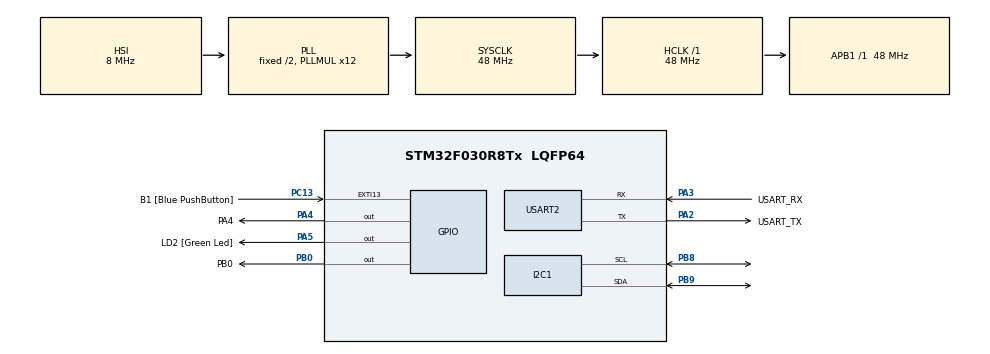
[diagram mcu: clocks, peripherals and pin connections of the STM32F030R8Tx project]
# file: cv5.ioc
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Dma.Request0=USART2_RX
Dma.USART2_RX.0.Direction=DMA_PERIPH_TO_MEMORY
Dma.USART2_RX.0.Instance=DMA1_Channel5
Dma.USART2_RX.0.MemDataAlignment=DMA_MDATAALIGN_BYTE
Dma.USART2_RX.0.MemInc=DMA_MINC_ENABLE
Dma.USART2_RX.0.Mode=DMA_CIRCULAR
Dma.USART2_RX.0.PeriphDataAlignment=DMA_PDATAALIGN_BYTE
Dma.USART2_RX.0.PeriphInc=DMA_PINC_DISABLE
Dma.USART2_RX.0.Priority=DMA_PRIORITY_LOW
Mcu.Family=STM32F0
Mcu.Name=STM32F030R8Tx
Mcu.Package=LQFP64
NVIC.DMA1_Channel4_5_IRQn=true\:0\:0\:false\:false\:true\:false\:true
PA13.GPIO_Label=TMS
PA13.Mode=Serial_Wire
PA13.Signal=SYS_SWDIO
PA14.GPIO_Label=TCK
PA14.Mode=Serial_Wire
PA14.Signal=SYS_SWCLK
PA2.GPIO_Label=USART_TX
PA2.GPIO_Mode=GPIO_MODE_AF_PP
PA2.GPIO_PuPd=GPIO_NOPULL
PA2.GPIO_Speed=GPIO_SPEED_FREQ_LOW
PA2.Mode=Asynchronous
PA2.Signal=USART2_TX
PA3.GPIO_Label=USART_RX
PA3.GPIO_Mode=GPIO_MODE_AF_PP
PA3.GPIO_PuPd=GPIO_NOPULL
PA3.GPIO_Speed=GPIO_SPEED_FREQ_LOW
PA3.Mode=Asynchronous
PA3.Signal=USART2_RX
PA4.GPIO_Label=PA4
PA4.Signal=GPIO_Output
PA5.GPIO_Label=LD2 [Green Led]
PA5.GPIO_Mode=GPIO_MODE_OUTPUT_PP
PA5.GPIO_PuPd=GPIO_NOPULL
PA5.GPIO_Speed=GPIO_SPEED_FREQ_LOW
PA5.Signal=GPIO_Output
PB0.GPIO_Label=PB0
PB0.Signal=GPIO_Output
PB8.Mode=I2C
PB8.Signal=I2C1_SCL
PB9.Mode=I2C
PB9.Signal=I2C1_SDA
PC13.GPIO_Label=B1 [Blue PushButton]
PC13.GPIO_ModeDefaultEXTI=GPIO_MODE_IT_FALLING
PC13.Signal=GPXTI13
PC14-OSC32_IN.Mode=LSE-External-Oscillator
PC14-OSC32_IN.Signal=RCC_OSC32_IN
PC15-OSC32_OUT.Mode=LSE-External-Oscillator
PC15-OSC32_OUT.Signal=RCC_OSC32_OUT
PF0-OSC_IN.Mode=HSE-External-Clock-Source
PF0-OSC_IN.Signal=RCC_OSC_IN
PF1-OSC_OUT.Signal=RCC_OSC_OUT
ProjectManager.HeapSize=0x200
ProjectManager.StackSize=0x400
ProjectManager.TargetToolchain=STM32CubeIDE
RCC.AHBFreq_Value=48000000
RCC.APB1Freq_Value=48000000
RCC.APB1TimFreq_Value=48000000
RCC.HCLKFreq_Value=48000000
RCC.PLLMUL=RCC_PLL_MUL12
RCC.SYSCLKFreq_VALUE=48000000
RCC.SYSCLKSource=RCC_SYSCLKSOURCE_PLLCLK
USART2.VirtualMode-Asynchronous=VM_ASYNC
board=NUCLEO-F030R8

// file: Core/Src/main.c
/* USER CODE BEGIN Header */
/**
  ******************************************************************************
  * @file           : main.c
  * @brief          : Main program body
  ******************************************************************************
  * @attention
  *
  * <h2><center>&copy; Copyright (c) 2021 STMicroelectronics.
  * All rights reserved.</center></h2>
  *
  * This software component is licensed by ST under BSD 3-Clause license,
  * the "License"; You may not use this file except in compliance with the
  * License. You may obtain a copy of the License at:
  *                        opensource.org/licenses/BSD-3-Clause
  *
  ******************************************************************************
  */
/* USER CODE END Header */
#include "main.h"

/* USER CODE BEGIN Includes */
#include "stdio.h"
#include "string.h"
#include "stdlib.h"

/* USER CODE END Includes */

/* USER CODE BEGIN PTD */

#define RX_BUFFER_LEN 64
#define EEPROM_ADDR 0b10100000
#define CMD_BUFFER_LEN 256
static uint8_t uart_rx_buf[RX_BUFFER_LEN];
static volatile uint16_t uart_rx_read_ptr = 0;

#define uart_rx_write_ptr (RX_BUFFER_LEN - hdma_usart2_rx.Instance->CNDTR)
int atoi(const char *str);

/* USER CODE END PTD */

I2C_HandleTypeDef hi2c1;

UART_HandleTypeDef huart2;
DMA_HandleTypeDef hdma_usart2_rx;

void SystemClock_Config(void);
static void MX_GPIO_Init(void);
static void MX_DMA_Init(void);
static void MX_USART2_UART_Init(void);
static void MX_I2C1_Init(void);

/* USER CODE BEGIN 0 */

int _write(int file, char const *buf, int n)
{
	/* stdout redirection to UART2 */
	HAL_UART_Transmit(&huart2, (uint8_t*)(buf), n, HAL_MAX_DELAY);
	return n;
}

static void uart_process_command(char *cmd)
{
	printf("prijato: '%s'\n", cmd);
	uint8_t value;
	char *token;
	uint16_t addr;

	token = strtok(cmd, " ");
	if (strcasecmp(token, "HELLO") == 0) {
	 printf("Komunikace OK\n");
	}
	else if (strcasecmp(token, "LED1") == 0) {
	 token = strtok(NULL, " ");
	 if (strcasecmp(token, "ON") == 0){HAL_GPIO_WritePin(PA4_GPIO_Port,PA4_Pin,GPIO_PIN_SET);printf("test_led1\n");}

	 else if (strcasecmp(token, "OFF")==0){HAL_GPIO_WritePin(PA4_GPIO_Port,PA4_Pin,GPIO_PIN_RESET);}
	 printf("OK\n");
	}
	else if (strcasecmp(token, "LED2") == 0) {
		 token = strtok(NULL, " ");
		 if (strcasecmp(token, "ON") == 0){ HAL_GPIO_WritePin(PB0_GPIO_Port,PB0_Pin,GPIO_PIN_SET);printf("test_led2\n");}
		 else if (strcasecmp(token, "OFF")==0){ HAL_GPIO_WritePin(PB0_GPIO_Port,PB0_Pin,GPIO_PIN_RESET);}
		 printf("OK\n");
	}
	else if (strcasecmp(token, "STATUS") == 0) {
		token = strtok(NULL, " ");
		if (strcasecmp(token, "LED1") == 0){
			if (HAL_GPIO_ReadPin(PA4_GPIO_Port,PA4_Pin)){printf("on\n");} else {printf("off\n");}
		}
		else if (strcasecmp(token, "LED2") == 0){
			if (HAL_GPIO_ReadPin(PB0_GPIO_Port,PB0_Pin)){printf("on\n");} else {printf("off\n");}
		}
		printf("OK\n");
		}

	else if (strcasecmp(token, "READ") == 0) {
		token = strtok(NULL, " ");
		addr=atoi(token);
		printf(token);
		HAL_I2C_Mem_Read(&hi2c1, EEPROM_ADDR, addr, I2C_MEMADD_SIZE_16BIT, &value, 1, 1000);
		printf("adresa: 0x%04x ", addr);
		printf("= 0x%02x\n", value);

	}

	else if (strcasecmp(token, "WRITE") == 0) {
		token = strtok(NULL, " ");
		addr=atoi(token);
		token = strtok(NULL, " ");
		value=atoi(token);
		printf("%s",token);
		HAL_I2C_Mem_Write(&hi2c1, EEPROM_ADDR, addr, I2C_MEMADD_SIZE_16BIT, &value, 1, 1000);
		printf("adresa: 0x%04x ", addr);
		printf("= 0x'%02x'\n", value);
		while (HAL_I2C_IsDeviceReady(&hi2c1, EEPROM_ADDR, 300, 1000) == HAL_TIMEOUT) {}
		}

	else if (strcasecmp(token, "DUMP") == 0) {

		//nahrat 16 bajtů a dale pracovat s vystupem HAL_I2C_Mem_Read(&hi2c1, EEPROM_ADDR, i, I2C_MEMADD_SIZE_16BIT, &value, 16, 1000);

		for(uint32_t i = 0;i<16;i++){

			HAL_I2C_Mem_Read(&hi2c1, EEPROM_ADDR, i, I2C_MEMADD_SIZE_16BIT, &value, 1, 1000);
			printf("0x%02x ", value);
			if((i%8)==7){
				printf("\n");
			}
		}

	}

}

static void uart_byte_available(uint8_t c)
{
	static uint16_t cnt;
	static char data[CMD_BUFFER_LEN];
	if (cnt < CMD_BUFFER_LEN && c >= 32 && c <= 126) data[cnt++] = c;
	if ((c == '\n' || c == '\r') && cnt > 0) {
		data[cnt] = '\0';
		uart_process_command(data);
		cnt = 0;
	}
}

/* USER CODE END 0 */

int main(void)
{
  /* USER CODE BEGIN 1 */
	//uint8_t c;

  /* USER CODE END 1 */

  /* MCU Configuration--------------------------------------------------------*/

  /* Reset of all peripherals, Initializes the Flash interface and the Systick. */
  HAL_Init();

  /* Configure the system clock */
  SystemClock_Config();

  /* Initialize all configured peripherals */
  MX_GPIO_Init();
  MX_DMA_Init();
  MX_USART2_UART_Init();
  MX_I2C1_Init();
  /* USER CODE BEGIN 2 */

  HAL_UART_Receive_DMA(&huart2, uart_rx_buf, RX_BUFFER_LEN);

  /* USER CODE END 2 */

  /* Infinite loop */
  /* USER CODE BEGIN WHILE */
  while (1)
  {

	  //HAL_UART_Receive(&huart2, &c, 1, HAL_MAX_DELAY);
	  //HAL_UART_Transmit(&huart2, &c, 1, HAL_MAX_DELAY);
	  while (uart_rx_read_ptr != uart_rx_write_ptr) {
	   uint8_t b = uart_rx_buf[uart_rx_read_ptr];
	   if (++uart_rx_read_ptr >= RX_BUFFER_LEN) uart_rx_read_ptr = 0; // increase read pointer
	   uart_byte_available(b); // process every received byte with the RX state machine
	  }

    /* USER CODE END WHILE */

  }
}

void SystemClock_Config(void)
{
  RCC_OscInitTypeDef RCC_OscInitStruct = {0};
  RCC_ClkInitTypeDef RCC_ClkInitStruct = {0};
  RCC_PeriphCLKInitTypeDef PeriphClkInit = {0};

  /** Initializes the RCC Oscillators according to the specified parameters
  * in the RCC_OscInitTypeDef structure.
  */
  RCC_OscInitStruct.OscillatorType = RCC_OSCILLATORTYPE_HSI;
  RCC_OscInitStruct.HSIState = RCC_HSI_ON;
  RCC_OscInitStruct.HSICalibrationValue = RCC_HSICALIBRATION_DEFAULT;
  RCC_OscInitStruct.PLL.PLLState = RCC_PLL_ON;
  RCC_OscInitStruct.PLL.PLLSource = RCC_PLLSOURCE_HSI;
  RCC_OscInitStruct.PLL.PLLMUL = RCC_PLL_MUL12;
  RCC_OscInitStruct.PLL.PREDIV = RCC_PREDIV_DIV1;
  if (HAL_RCC_OscConfig(&RCC_OscInitStruct) != HAL_OK)
  {
    Error_Handler();
  }
  /** Initializes the CPU, AHB and APB buses clocks
  */
  RCC_ClkInitStruct.ClockType = RCC_CLOCKTYPE_HCLK|RCC_CLOCKTYPE_SYSCLK
                              |RCC_CLOCKTYPE_PCLK1;
  RCC_ClkInitStruct.SYSCLKSource = RCC_SYSCLKSOURCE_PLLCLK;
  RCC_ClkInitStruct.AHBCLKDivider = RCC_SYSCLK_DIV1;
  RCC_ClkInitStruct.APB1CLKDivider = RCC_HCLK_DIV1;

  if (HAL_RCC_ClockConfig(&RCC_ClkInitStruct, FLASH_LATENCY_1) != HAL_OK)
  {
    Error_Handler();
  }
  PeriphClkInit.PeriphClockSelection = RCC_PERIPHCLK_I2C1;
  PeriphClkInit.I2c1ClockSelection = RCC_I2C1CLKSOURCE_HSI;
  if (HAL_RCCEx_PeriphCLKConfig(&PeriphClkInit) != HAL_OK)
  {
    Error_Handler();
  }
}

static void MX_I2C1_Init(void)
{

  hi2c1.Instance = I2C1;
  hi2c1.Init.Timing = 0x2000090E;
  hi2c1.Init.OwnAddress1 = 0;
  hi2c1.Init.AddressingMode = I2C_ADDRESSINGMODE_7BIT;
  hi2c1.Init.DualAddressMode = I2C_DUALADDRESS_DISABLE;
  hi2c1.Init.OwnAddress2 = 0;
  hi2c1.Init.OwnAddress2Masks = I2C_OA2_NOMASK;
  hi2c1.Init.GeneralCallMode = I2C_GENERALCALL_DISABLE;
  hi2c1.Init.NoStretchMode = I2C_NOSTRETCH_DISABLE;
  if (HAL_I2C_Init(&hi2c1) != HAL_OK)
  {
    Error_Handler();
  }
  /** Configure Analogue filter
  */
  if (HAL_I2CEx_ConfigAnalogFilter(&hi2c1, I2C_ANALOGFILTER_ENABLE) != HAL_OK)
  {
    Error_Handler();
  }
  /** Configure Digital filter
  */
  if (HAL_I2CEx_ConfigDigitalFilter(&hi2c1, 0) != HAL_OK)
  {
    Error_Handler();
  }

}

static void MX_USART2_UART_Init(void)
{

  huart2.Instance = USART2;
  huart2.Init.BaudRate = 38400;
  huart2.Init.WordLength = UART_WORDLENGTH_8B;
  huart2.Init.StopBits = UART_STOPBITS_1;
  huart2.Init.Parity = UART_PARITY_NONE;
  huart2.Init.Mode = UART_MODE_TX_RX;
  huart2.Init.HwFlowCtl = UART_HWCONTROL_NONE;
  huart2.Init.OverSampling = UART_OVERSAMPLING_16;
  huart2.Init.OneBitSampling = UART_ONE_BIT_SAMPLE_DISABLE;
  huart2.AdvancedInit.AdvFeatureInit = UART_ADVFEATURE_NO_INIT;
  if (HAL_UART_Init(&huart2) != HAL_OK)
  {
    Error_Handler();
  }

}

static void MX_DMA_Init(void)
{

  /* DMA controller clock enable */
  __HAL_RCC_DMA1_CLK_ENABLE();

  /* DMA interrupt init */
  /* DMA1_Channel4_5_IRQn interrupt configuration */
  HAL_NVIC_SetPriority(DMA1_Channel4_5_IRQn, 0, 0);
  HAL_NVIC_EnableIRQ(DMA1_Channel4_5_IRQn);

}

static void MX_GPIO_Init(void)
{
  GPIO_InitTypeDef GPIO_InitStruct = {0};

  /* GPIO Ports Clock Enable */
  __HAL_RCC_GPIOC_CLK_ENABLE();
  __HAL_RCC_GPIOF_CLK_ENABLE();
  __HAL_RCC_GPIOA_CLK_ENABLE();
  __HAL_RCC_GPIOB_CLK_ENABLE();

  /*Configure GPIO pin Output Level */
  HAL_GPIO_WritePin(GPIOA, PA4_Pin|LD2_Pin, GPIO_PIN_RESET);

  /*Configure GPIO pin Output Level */
  HAL_GPIO_WritePin(PB0_GPIO_Port, PB0_Pin, GPIO_PIN_RESET);

  /*Configure GPIO pin : B1_Pin */
  GPIO_InitStruct.Pin = B1_Pin;
  GPIO_InitStruct.Mode = GPIO_MODE_IT_FALLING;
  GPIO_InitStruct.Pull = GPIO_NOPULL;
  HAL_GPIO_Init(B1_GPIO_Port, &GPIO_InitStruct);

  /*Configure GPIO pins : PA4_Pin LD2_Pin */
  GPIO_InitStruct.Pin = PA4_Pin|LD2_Pin;
  GPIO_InitStruct.Mode = GPIO_MODE_OUTPUT_PP;
  GPIO_InitStruct.Pull = GPIO_NOPULL;
  GPIO_InitStruct.Speed = GPIO_SPEED_FREQ_LOW;
  HAL_GPIO_Init(GPIOA, &GPIO_InitStruct);

  /*Configure GPIO pin : PB0_Pin */
  GPIO_InitStruct.Pin = PB0_Pin;
  GPIO_InitStruct.Mode = GPIO_MODE_OUTPUT_PP;
  GPIO_InitStruct.Pull = GPIO_NOPULL;
  GPIO_InitStruct.Speed = GPIO_SPEED_FREQ_LOW;
  HAL_GPIO_Init(PB0_GPIO_Port, &GPIO_InitStruct);

}

void Error_Handler(void)
{
  __disable_irq();
  while (1)
  {
  }
}

/************************ (C) COPYRIGHT STMicroelectronics *****END OF FILE****/
